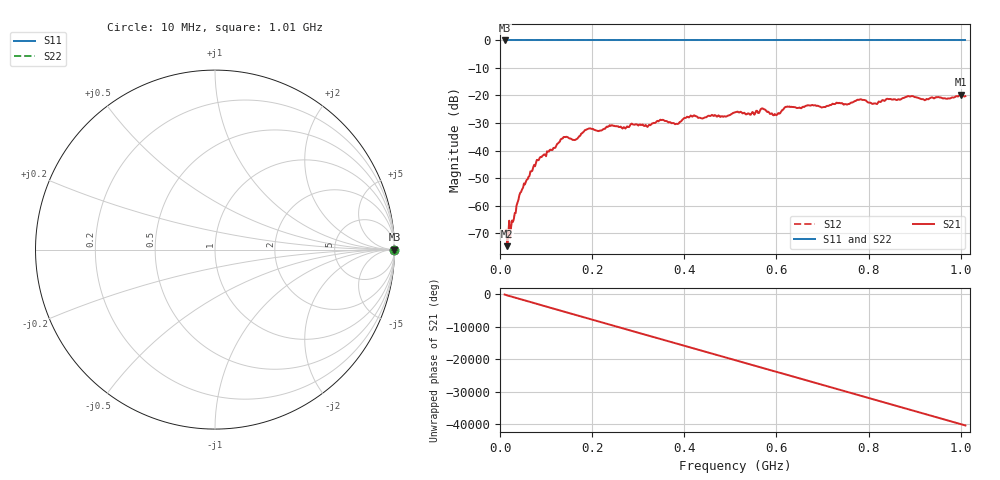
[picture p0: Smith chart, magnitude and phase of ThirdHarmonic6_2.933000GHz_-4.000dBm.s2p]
! 8/17/2025 8:11:45 AM
! C:\ANRITSUVNA\TEMP\TEMP.S2P
! CHANNEL.1
! TR.MEASUREMENT
! RAW.DATA
! RF.CORRECTION.OFF
! AVERAGING.OFF
! IF.BANDWIDTH: 5KHZ
! SWEEPTYPE:  FREQ.SWEEP(Linear)
! Reference Plane Port Info
! PORT:  PORT1  PORT2
! DISTANCE:  0  m  0  m
! TIME:  0  s  0  s
! PHASE.OFFSET:  0  deg.  0  deg.
! LOSS:  0  dB  0  dB
! REF.LOSS:  0  dB  0  dB
! REF.FREQ:  0  Hz  0  Hz
! Power Info
! POWER:  -20  dBm  -20  dBm
! EFF.POWER:  -20  dBm  -20  dBm
! SOURCE.ATTEN:  0  dB  0  dB
! TEST.ATTEN:  0  dB  0  dB
# GHZ S RI R 50.0
! FREQ.GHZ  S11RE  S11IM  S21RE  S21IM  S12RE  S12IM  S22RE  S22IM
!; PortSelection: Port_12
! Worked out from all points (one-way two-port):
!   501 points, 10 MHz to 1.01 GHz, reference 50 ohm
!   highest |S21| = -19.71 dB at 1 GHz (marker M1); lowest = -74.8 dB at 16 MHz (marker M2)
!   lowest |S11| = 0.0 dB at 10 MHz (marker M3)
!   |S11| at or under -10 dB: nowhere
!   |S22| runs from 0.0 to 0.0 dB; largest |S21 - S12| = 1.1
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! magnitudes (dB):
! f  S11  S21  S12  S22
! 10 MHz  0.0  -69.6  0.0  0.0
! 16 MHz  0.0  -74.8  0.0  0.0
! 20 MHz  0.0  -65.5  0.0  0.0
! 26 MHz  0.0  -65.5  0.0  0.0
! 48 MHz  0.0  -54.1  0.0  0.0
! 82 MHz  0.0  -43.5  0.0  0.0
! 136 MHz  0.0  -35.6  0.0  0.0
! 162 MHz  0.0  -36.2  0.0  0.0
! 178 MHz  0.0  -33.7  0.0  0.0
! 344 MHz  0.0  -29.4  0.0  0.0
! 384 MHz  0.0  -30.3  0.0  0.0
! 418 MHz  0.0  -27.7  0.0  0.0
! 510 MHz  0.0  -26.2  0.0  0.0
! 570 MHz  0.0  -24.7  0.0  0.0
! 596 MHz  0.0  -26.8  0.0  0.0
! 622 MHz  0.0  -24.1  0.0  0.0
! 678 MHz  0.0  -23.4  0.0  0.0
! 780 MHz  0.0  -21.6  0.0  0.0
! 814 MHz  0.0  -22.9  0.0  0.0
! 844 MHz  0.0  -21.3  0.0  0.0
! 1 GHz  0.0  -19.7  0.0  0.0
! 1.01 GHz  0.0  -20.2  0.0  0.0
